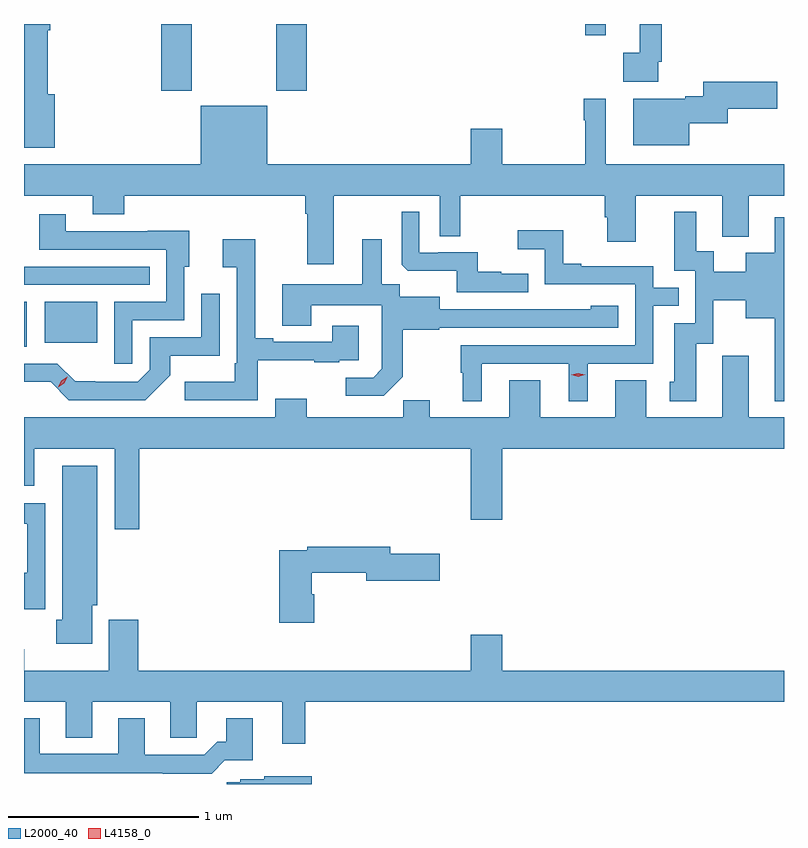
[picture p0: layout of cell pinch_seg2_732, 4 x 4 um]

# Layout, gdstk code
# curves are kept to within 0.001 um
import gdstk
lib = gdstk.Library(unit=1e-6, precision=1e-09)
def R(c, l, rs):  # rectangles x0, y0, x1, y1
    for r in rs: c.add(gdstk.rectangle(r[:2], r[2:], *l))
def P(c, l, *ps):  # polygons
    for p in ps: c.add(gdstk.Polygon(p, *l))
L2000_40 = (2000, 40)
L4158_0 = (4158, 0)

pinch_seg2_732 = lib.new_cell('pinch_seg2_732')
R(pinch_seg2_732, L2000_40, [(821.996,632.189,822.01,632.425), (822.104,632.21,822.382,632.425), (821.996,632.514,822.659,632.61), (822.719,633.537,822.879,633.887), (823.324,633.537,823.484,633.887), (824.949,633.828,825.059,633.887)])
P(pinch_seg2_732, L2000_40, [(825.333,633.688),(825.353,633.688),(825.353,633.887),(825.236,633.887),(825.236,633.737),(825.15,633.737),(825.15,633.584),(825.333,633.584)],
  [(822.158,633.516),(822.121,633.516),(822.121,633.854),(822.134,633.854),(822.134,633.887),(821.996,633.887),(821.996,633.237),(822.158,633.237)],
  [(825.496,633.365),(825.7,633.365),(825.7,633.442),(825.961,633.442),(825.961,633.584),(825.572,633.584),(825.572,633.506),(825.476,633.506),(825.476,633.493),(825.203,633.493),(825.203,633.248),(825.496,633.248)],
  [(825.058,633.493),(824.941,633.493),(824.941,633.38),(824.949,633.38),(824.949,633.148),(824.512,633.148),(824.512,633.337),(824.348,633.337),(824.348,633.148),(823.276,633.148),(823.276,633.457),(822.926,633.457),(822.926,633.148),(821.996,633.148),(821.996,632.984),(822.359,632.984),(822.359,632.885),(822.523,632.885),(822.523,632.984),(823.475,632.984),(823.475,632.888),(823.487,632.888),(823.487,632.622),(823.627,632.622),(823.627,632.984),(824.184,632.984),(824.184,632.77),(824.293,632.77),(824.293,632.984),(825.053,632.984),(825.053,632.871),(825.065,632.871),(825.065,632.742),(825.217,632.742),(825.217,632.984),(825.671,632.984),(825.671,632.768),(825.811,632.768),(825.811,632.984),(825.996,632.984),(825.996,633.148),(825.058,633.148)],
  [(824.651,632.572),(824.507,632.572),(824.507,632.584),(824.384,632.584),(824.384,632.685),(824.176,632.685),(824.176,632.682),(824.076,632.682),(824.076,632.899),(823.983,632.899),(823.983,632.619),(824.015,632.588),(824.274,632.588),(824.274,632.475),(824.651,632.475)],
  [(825.996,632.869),(825.947,632.869),(825.947,632.683),(825.794,632.683),(825.794,632.584),(825.625,632.584),(825.625,632.69),(825.535,632.69),(825.535,632.899),(825.419,632.899),(825.419,632.589),(825.528,632.589),(825.528,632.313),(825.419,632.313),(825.419,632.004),(825.395,632.004),(825.395,631.902),(825.535,631.902),(825.535,632.205),(825.624,632.205),(825.624,632.432),(825.794,632.432),(825.794,632.339),(825.947,632.339),(825.947,631.901),(825.996,631.901)],
  [(822.567,632.328),(822.84,632.328),(822.84,632.61),(822.865,632.61),(822.865,632.798),(822.647,632.798),(822.647,632.796),(822.217,632.796),(822.217,632.887),(822.077,632.887),(822.077,632.7),(822.744,632.7),(822.744,632.424),(822.471,632.424),(822.471,632.1),(822.567,632.1)],
  [(824.404,632.1),(824.864,632.1),(824.864,631.901),(824.962,631.901),(824.962,632.1),(825.309,632.1),(825.309,632.403),(825.443,632.403),(825.443,632.499),(825.309,632.499),(825.309,632.613),(824.929,632.613),(824.929,632.626),(824.835,632.626),(824.835,632.801),(824.595,632.801),(824.595,632.702),(824.736,632.702),(824.736,632.517),(825.213,632.517),(825.213,632.196),(824.295,632.196),(824.295,632.052),(824.306,632.052),(824.306,631.901),(824.404,631.901)],
  [(823.989,632.031),(823.989,632.277),(824.181,632.277),(824.181,632.289),(825.124,632.289),(825.124,632.404),(824.979,632.404),(824.979,632.386),(824.185,632.385),(824.185,632.452),(823.974,632.452),(823.974,632.516),(823.879,632.516),(823.879,632.755),(823.775,632.755),(823.775,632.518),(823.355,632.518),(823.355,632.299),(823.507,632.299),(823.507,632.408),(823.878,632.408),(823.878,632.167),(823.88,632.167),(823.88,632.072),(823.833,632.025),(823.689,632.025),(823.689,631.931),(823.889,631.931)],
  [(823.225,632.117),(823.523,632.117),(823.523,632.106),(823.655,632.106),(823.655,632.118),(823.759,632.118),(823.759,632.299),(823.619,632.299),(823.619,632.214),(823.309,632.214),(823.309,632.233),(823.213,632.233),(823.213,632.755),(823.041,632.755),(823.041,632.606),(823.116,632.606),(823.116,632.101),(823.104,632.101),(823.104,632.005),(822.843,632.005),(822.843,631.908),(823.225,631.908)],
  [(822.765,632.039),(822.765,632.141),(823.026,632.141),(823.026,632.467),(822.93,632.467),(822.93,632.238),(822.657,632.238),(822.657,632.067),(822.594,632.004),(822.37,632.004),(822.37,632.006),(822.266,632.006),(822.171,632.1),(821.996,632.1),(821.996,632.003),(822.137,632.003),(822.231,631.908),(822.634,631.908)],
  [(822.602,631.652),(824.348,631.652),(824.348,631.278),(824.512,631.278),(824.512,631.652),(825.996,631.652),(825.996,631.816),(825.811,631.816),(825.811,632.14),(825.672,632.14),(825.672,632.027),(825.671,632.027),(825.671,631.816),(825.271,631.816),(825.271,632.011),(825.107,632.011),(825.107,631.816),(824.713,631.816),(824.713,632.011),(824.549,632.011),(824.549,631.816),(824.131,631.816),(824.131,631.907),(823.993,631.907),(823.993,631.816),(823.483,631.816),(823.483,631.915),(823.319,631.915),(823.319,631.816),(821.996,631.816),(821.996,631.458),(822.049,631.458),(822.049,631.652),(822.473,631.652),(822.473,631.227),(822.602,631.227)],
  [(822.355,630.828),(822.382,630.828),(822.382,631.561),(822.197,631.561),(822.197,630.752),(822.167,630.752),(822.167,630.626),(822.355,630.626)],
  [(822.108,631.365),(821.996,631.365),(821.996,631.257),(822.012,631.257),(822.012,631),(821.996,631),(821.996,630.807),(822.108,630.807)],
  [(823.523,630.885),(823.51,630.885),(823.51,631),(823.796,631),(823.796,630.958),(824.185,630.958),(824.185,631.1),(823.924,631.1),(823.924,631.136),(823.486,631.136),(823.486,631.116),(823.34,631.116),(823.34,630.735),(823.523,630.735)],
  [(823.477,630.32),(825.996,630.32),(825.996,630.484),(824.512,630.484),(824.512,630.673),(824.348,630.673),(824.348,630.484),(822.596,630.484),(822.596,630.751),(822.443,630.751),(822.443,630.484),(821.997,630.484),(821.997,630.597),(821.996,630.597),(821.996,630.32),(822.215,630.32),(822.215,630.13),(822.355,630.13),(822.355,630.32),(822.767,630.32),(822.767,630.13),(822.906,630.13),(822.906,630.32),(823.355,630.32),(823.355,630.099),(823.477,630.099)],
  [(823.053,630.012),(823.201,630.012),(823.201,630.232),(823.061,630.232),(823.061,630.109),(823.012,630.109),(822.945,630.042),(822.631,630.042),(822.631,630.232),(822.491,630.232),(822.491,630.045),(822.079,630.045),(822.079,630.232),(821.996,630.232),(821.996,629.944),(822.727,629.944),(822.727,629.942),(822.983,629.942)],
  [(823.51,629.929),(823.26,629.929),(823.26,629.911),(823.134,629.911),(823.134,629.897),(823.062,629.897),(823.062,629.887),(823.51,629.887)])
P(pinch_seg2_732, L4158_0, [(822.177,631.975),(822.177,631.976),(822.193,632.009),(822.224,632.03),(822.224,632.03),(822.224,632.03),(822.208,631.996),(822.177,631.975)],
  [(824.913,632.03),(824.877,632.04),(824.877,632.04),(824.877,632.04),(824.913,632.05),(824.948,632.04),(824.949,632.04),(824.948,632.04)])

lib.write_gds('pinch_seg2_732.gds')
